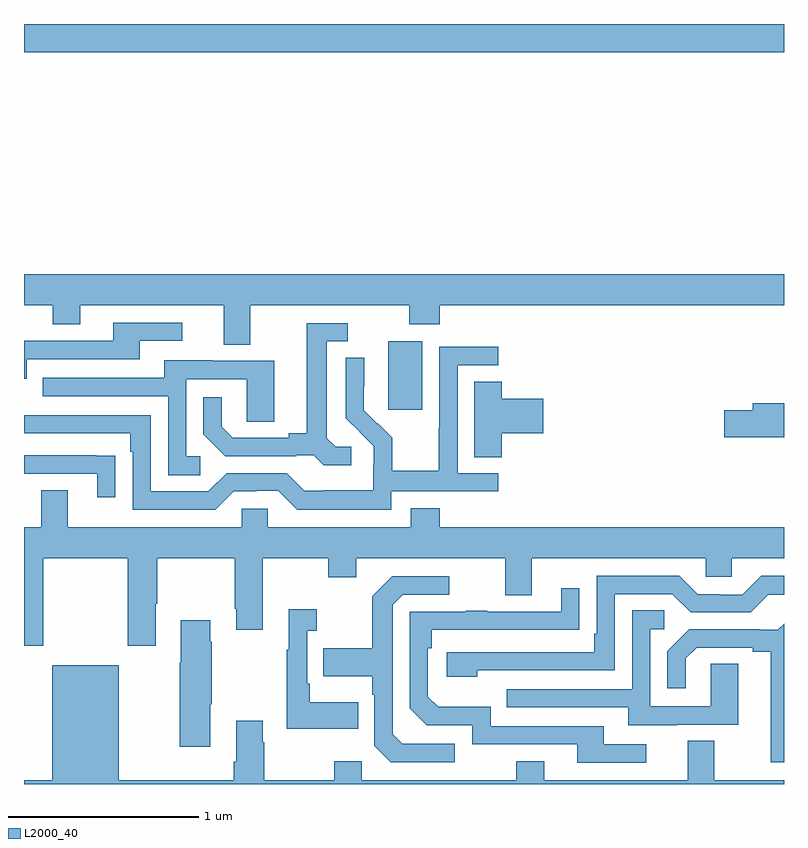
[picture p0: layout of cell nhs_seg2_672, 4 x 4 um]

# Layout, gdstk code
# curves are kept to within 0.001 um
import gdstk
lib = gdstk.Library(unit=1e-6, precision=1e-09)
def R(c, l, rs):  # rectangles x0, y0, x1, y1
    for r in rs: c.add(gdstk.rectangle(r[:2], r[2:], *l))
def P(c, l, *ps):  # polygons
    for p in ps: c.add(gdstk.Polygon(p, *l))
L2000_40 = (2000, 40)

nhs_seg2_672 = lib.new_cell('nhs_seg2_672')
R(nhs_seg2_672, L2000_40, [(146.918,629.769,147.097,630.13), (145,631.652,149,631.8)])
P(nhs_seg2_672, L2000_40, [(146.191,630.32),(147.028,630.32),(147.028,630.221),(147.188,630.221),(147.188,630.32),(149,630.32),(149,630.484),(145,630.484),(145,630.32),(145.15,630.32),(145.15,630.221),(145.297,630.221),(145.297,630.32),(146.051,630.32),(146.051,630.112),(146.191,630.112)],
  [(145.014,630.036),(145.609,630.036),(145.609,630.132),(145.834,630.132),(145.834,630.228),(145.469,630.228),(145.469,630.132),(145,630.132),(145,629.933),(145.014,629.933)],
  [(146.722,629.574),(146.64,629.574),(146.593,629.621),(146.593,630.129),(146.704,630.129),(146.704,630.225),(146.489,630.225),(146.489,629.645),(146.393,629.645),(146.393,629.622),(146.098,629.622),(146.041,629.679),(146.041,629.836),(145.944,629.836),(145.944,629.642),(146.06,629.526),(146.432,629.526),(146.432,629.529),(146.526,629.529),(146.578,629.477),(146.722,629.477)],
  [(146.934,629.34),(147.496,629.34),(147.496,629.436),(147.282,629.436),(147.282,630.003),(147.496,630.003),(147.496,630.102),(147.186,630.102),(147.186,629.672),(147.184,629.672),(147.184,629.449),(146.939,629.449),(146.939,629.623),(146.862,629.7),(146.859,629.697),(146.789,629.768),(146.79,630.044),(146.694,630.044),(146.694,629.726),(146.84,629.578),(146.84,629.481),(146.838,629.481),(146.838,629.347),(146.575,629.347),(146.575,629.343),(146.475,629.343),(146.382,629.436),(146.067,629.436),(145.971,629.34),(145.668,629.34),(145.668,629.742),(145,629.742),(145,629.646),(145.559,629.646),(145.559,629.549),(145.572,629.549),(145.572,629.244),(146.007,629.244),(146.103,629.34),(146.222,629.34),(146.222,629.343),(146.337,629.343),(146.437,629.243),(146.934,629.243)],
  [(145.927,629.526),(145.854,629.526),(145.854,629.931),(146.172,629.931),(146.172,629.707),(146.317,629.707),(146.317,630.027),(145.993,630.027),(145.993,630.031),(145.739,630.031),(145.739,629.937),(145.099,629.937),(145.099,629.841),(145.758,629.841),(145.758,629.425),(145.927,629.425)],
  [(147.515,629.645),(147.733,629.645),(147.733,629.828),(147.515,629.828),(147.515,629.918),(147.371,629.918),(147.371,629.521),(147.515,629.521)],
  [(149,629.804),(148.835,629.804),(148.835,629.768),(148.686,629.768),(148.686,629.626),(149,629.626)],
  [(145.481,629.528),(145.379,629.528),(145.379,629.529),(145,629.529),(145,629.433),(145.385,629.433),(145.385,629.31),(145.481,629.31)],
  [(145.101,628.988),(145.546,628.988),(145.546,628.527),(145.693,628.527),(145.693,628.75),(145.701,628.75),(145.701,628.988),(146.11,628.988),(146.11,628.723),(146.117,628.723),(146.117,628.611),(146.257,628.611),(146.257,628.988),(146.602,628.988),(146.602,628.889),(146.749,628.889),(146.749,628.988),(147.533,628.988),(147.533,628.794),(147.673,628.794),(147.673,628.988),(148.587,628.988),(148.587,628.89),(148.725,628.89),(148.725,628.988),(149,628.988),(149,629.152),(147.188,629.152),(147.188,629.251),(147.035,629.251),(147.035,629.152),(146.283,629.152),(146.283,629.25),(146.145,629.25),(146.145,629.152),(145.231,629.152),(145.231,629.347),(145.091,629.347),(145.091,629.152),(145,629.152),(145,628.527),(145.101,628.527)],
  [(147.386,628.398),(148.11,628.398),(148.11,628.8),(148.413,628.8),(148.509,628.704),(148.824,628.704),(148.917,628.797),(149,628.797),(149,628.897),(148.879,628.897),(148.779,628.797),(148.664,628.797),(148.664,628.8),(148.545,628.8),(148.449,628.896),(148.014,628.896),(148.014,628.591),(148.001,628.591),(148.001,628.494),(147.225,628.494),(147.225,628.364),(147.386,628.364)],
  [(147.268,628.011),(146.991,628.011),(146.94,628.062),(146.94,628.743),(146.994,628.797),(147.238,628.797),(147.238,628.893),(146.937,628.893),(146.832,628.787),(146.832,628.515),(146.575,628.515),(146.575,628.367),(146.832,628.367),(146.832,628.271),(146.844,628.271),(146.844,628.002),(146.931,627.915),(147.268,627.915)],
  [(148.276,628.008),(148.051,628.008),(148.051,628.104),(147.456,628.104),(147.456,628.207),(147.179,628.207),(147.126,628.26),(147.126,628.514),(147.146,628.514),(147.146,628.611),(147.923,628.612),(147.923,628.831),(147.827,628.831),(147.827,628.707),(147.437,628.707),(147.437,628.712),(147.325,628.712),(147.325,628.707),(147.03,628.707),(147.03,628.2),(147.12,628.11),(147.36,628.11),(147.36,628.008),(147.911,628.008),(147.911,627.912),(148.276,627.912)],
  [(146.759,628.231),(146.503,628.231),(146.503,628.327),(146.49,628.327),(146.49,628.607),(146.542,628.607),(146.542,628.72),(146.393,628.72),(146.393,628.507),(146.382,628.507),(146.382,628.091),(146.759,628.091)],
  [(148.435,628.113),(148.759,628.113),(148.759,628.433),(148.614,628.433),(148.614,628.209),(148.296,628.209),(148.296,628.614),(148.369,628.614),(148.369,628.715),(148.2,628.715),(148.2,628.299),(147.541,628.299),(147.541,628.203),(148.181,628.203),(148.181,628.109),(148.435,628.109)],
  [(145.981,628.219),(145.989,628.219),(145.989,628.55),(145.981,628.55),(145.981,628.663),(145.826,628.663),(145.826,628.439),(145.819,628.439),(145.819,627.996),(145.981,627.996)],
  [(149,628.643),(148.968,628.611),(148.874,628.611),(148.874,628.614),(148.502,628.614),(148.386,628.498),(148.386,628.305),(148.483,628.305),(148.483,628.461),(148.54,628.518),(148.835,628.518),(148.835,628.496),(148.931,628.496),(148.931,627.915),(149,627.915)],
  [(149,627.82),(148.633,627.82),(148.633,628.028),(148.493,628.028),(148.493,627.82),(147.739,627.82),(147.739,627.919),(147.592,627.919),(147.592,627.82),(146.778,627.82),(146.778,627.919),(146.632,627.919),(146.632,627.82),(146.265,627.82),(146.265,628.019),(146.257,628.019),(146.257,628.132),(146.117,628.132),(146.117,627.916),(146.105,627.916),(146.105,627.82),(145.498,627.82),(145.498,628.426),(145.148,628.426),(145.148,627.82),(145,627.82),(145,627.8),(149,627.8)])

lib.write_gds('nhs_seg2_672.gds')
